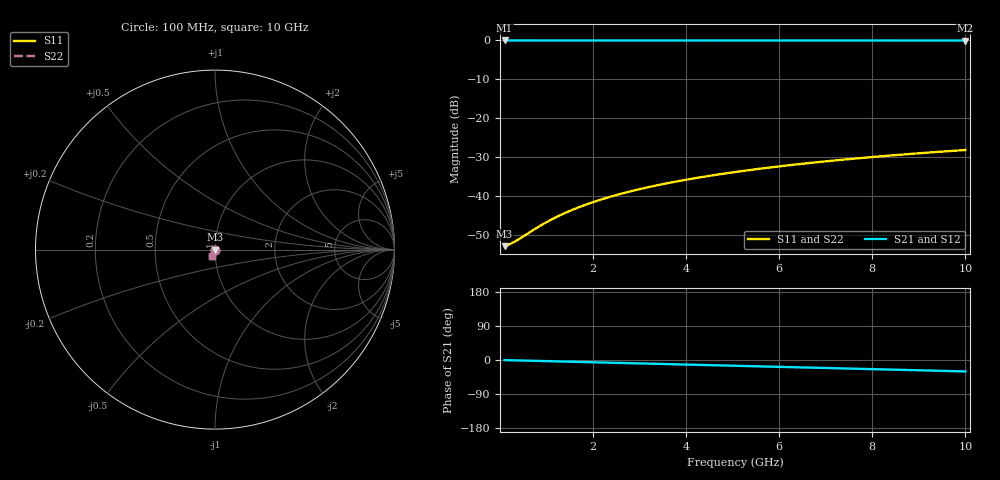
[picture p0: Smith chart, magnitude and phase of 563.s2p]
# Hz S RI R 50.00
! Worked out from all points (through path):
!   100 points, 100 MHz to 10 GHz, reference 50 ohm
!   highest |S21| = -0.02 dB at 100 MHz (marker M1); lowest = 0.0 dB at 10 GHz (marker M2)
!   group delay of S21, straight-line fit = 8.38 ps
!   lowest |S11| = -52.8 dB at 100 MHz (marker M3), VSWR 1.00, Z = 50.2 - j0.0419 ohm
!   |S11| at or under -10 dB: start of sweep to end of sweep
!   |S22| runs from -52.8 to -28.1 dB; largest |S21 - S12| = 0
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1e8  0.00226 -0.000417  0.9977 -0.00523  0.9977 -0.00523  0.00226 -0.000417
2e8  0.00227 -0.000834  0.9977 -0.0105  0.9977 -0.0105  0.00227 -0.000834
3e8  0.00226 -0.00125  0.9976 -0.0157  0.9976 -0.0157  0.00226 -0.00125
4e8  0.00226 -0.00167  0.9975 -0.0209  0.9975 -0.0209  0.00226 -0.00167
8e8  0.00217 -0.00334  0.9968 -0.0418  0.9968 -0.0418  0.00217 -0.00334
1.1e9  0.00205 -0.00458  0.996 -0.0575  0.996 -0.0575  0.00205 -0.00458
1.4e9  0.0019 -0.00583  0.9949 -0.0732  0.9949 -0.0732  0.0019 -0.00583
1.6e9  0.00177 -0.00666  0.9941 -0.0836  0.9941 -0.0836  0.00177 -0.00666
1.8e9  0.00162 -0.00748  0.9931 -0.094  0.9931 -0.094  0.00162 -0.00748
2.1e9  0.00137 -0.00871  0.9915 -0.1096  0.9915 -0.1096  0.00137 -0.00871
2.5e9  0.000979 -0.0103  0.9889 -0.1304  0.9889 -0.1304  0.000979 -0.0103
2.9e9  0.000516 -0.012  0.9859 -0.1512  0.9859 -0.1512  0.000516 -0.012
3.4e9  -0.000157 -0.014  0.9816 -0.177  0.9816 -0.177  -0.000157 -0.014
3.8e9  -0.000772 -0.0155  0.9776 -0.1976  0.9776 -0.1976  -0.000772 -0.0155
4.2e9  -0.00145 -0.0171  0.9731 -0.2181  0.9731 -0.2181  -0.00145 -0.0171
4.6e9  -0.0022 -0.0186  0.9683 -0.2385  0.9683 -0.2385  -0.0022 -0.0186
5.1e9  -0.00322 -0.0204  0.9616 -0.2639  0.9616 -0.2639  -0.00322 -0.0204
5.9e9  -0.00505 -0.0233  0.9495 -0.3041  0.9495 -0.3041  -0.00505 -0.0233
6.7e9  -0.00711 -0.026  0.9357 -0.3439  0.9357 -0.3439  -0.00711 -0.026
7.5e9  -0.0094 -0.0285  0.9203 -0.383  0.9203 -0.383  -0.0094 -0.0285
8.4e9  -0.0122 -0.0311  0.9009 -0.4262  0.9009 -0.4262  -0.0122 -0.0311
1e10  -0.0178 -0.0351  0.8613 -0.5008  0.8613 -0.5008  -0.0178 -0.0351
